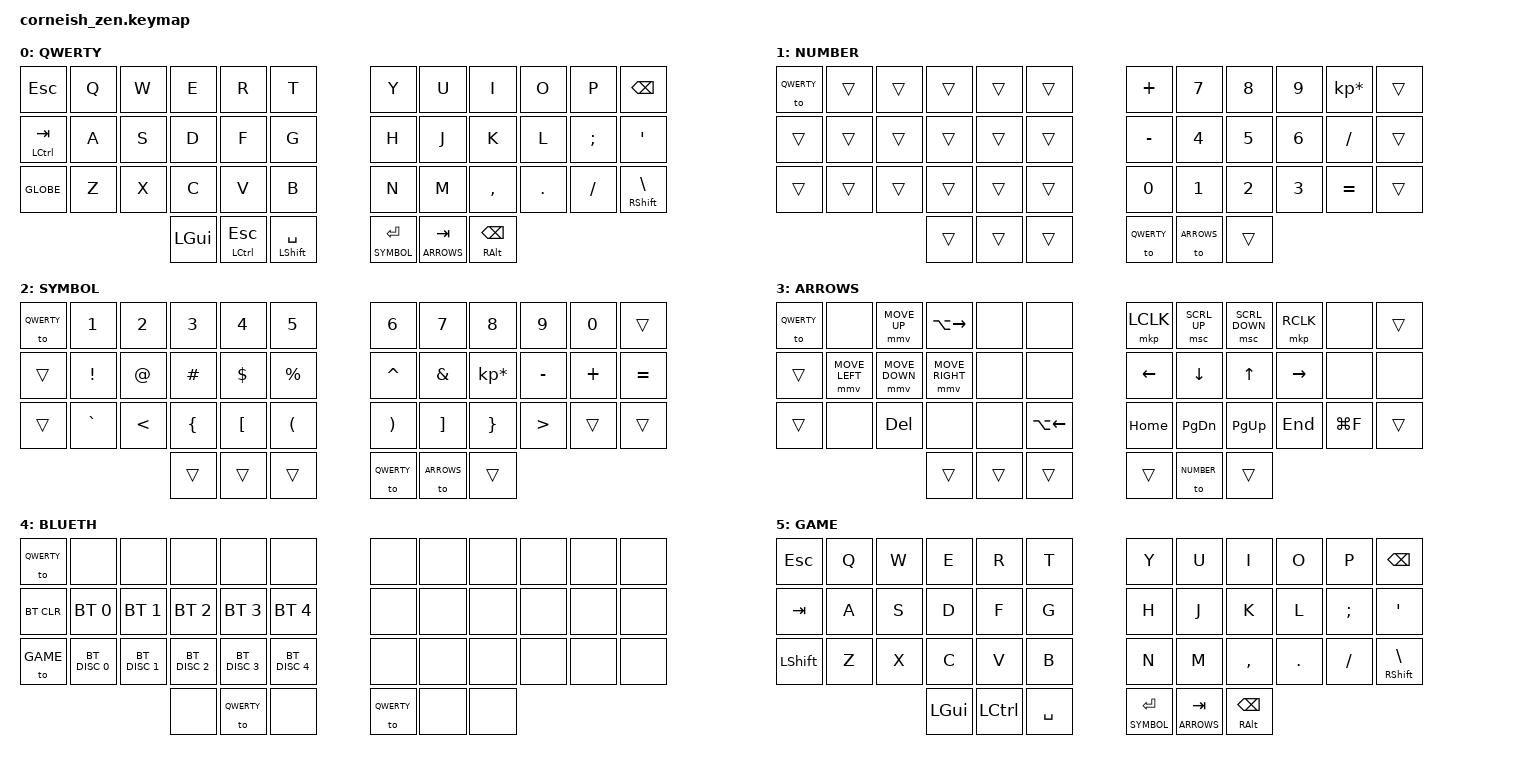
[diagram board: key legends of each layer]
#include <behaviors.dtsi>
#include <dt-bindings/zmk/keys.h>
#include <dt-bindings/zmk/bt.h>
#include <dt-bindings/zmk/pointing.h>

#define QWERTY 0
#define NUMBER 1
#define SYMBOL 2
#define ARROWS 3
#define BLUETH 4
#define GAME   5

#define AS(keycode) &as LS(keycode) keycode     // Autoshift Macro

/ {
  chosen {
    zmk,matrix_transform = &default_transform;
    //zmk,matrix_transform = &five_column_transform;
  };
};

/ {
    combos {
        #include "combos.dtsi"
    };
};

/ {
    macros {
        vim_w: vim_word {
            label = "vim_word";
            compatible = "zmk,behavior-macro";
            #binding-cells = <0>;
            bindings
                = <&macro_tap &kp LA(RIGHT)>
                , <&macro_tap &kp LA(RIGHT)>
                , <&macro_tap &kp LA(LEFT)>
                ;
        };

        end_append: end_append {
            label = "end_append";
            compatible = "zmk,behavior-macro";
            #binding-cells = <0>;
            bindings
                = <&macro_tap &to QWERTY>
                , <&macro_tap &kp LG(RIGHT)>
                ;
        };

        home_insert: home_insert {
            label = "home_insert";
            compatible = "zmk,behavior-macro";
            #binding-cells = <0>;
            bindings
                = <&macro_tap &to QWERTY>
                , <&macro_tap &kp LG(LEFT)>
                ;
        };
    };
};

/ {
    behaviors {
        mt: mod_tap {
            compatible = "zmk,behavior-hold-tap";
            #binding-cells = <2>;
            flavor = "tap-preferred";
            tapping-term-ms = <200>;
            bindings = <&kp>, <&kp>;
            display-name = "Mod-Tap";
        };

        lt: layer_tap {
            compatible = "zmk,behavior-hold-tap";
            #binding-cells = <2>;
            flavor = "hold-preferred";
            tapping-term-ms = <200>;
            bindings = <&mo>, <&kp>;
            display-name = "Layer-Tap";
        };
    };
};

/ {
        keymap {
                compatible = "zmk,keymap";

                default_layer {
                        label = "QWERTY";
/* ╭──────────┬─────┬─────┬─────┬────────────┬───────╮   ╭───────────┬─────────┬────────────┬─────┬─────┬─────────╮
   │ ESC      │  Q  │  W  │  E  │  R         │  T    │   │ Y         │  U      │  I         │  O  │  P  │  BSPC   │
   ├──────────┼─────┼─────┼─────┼────────────┼───────┤   ├───────────┼─────────┼────────────┼─────┼─────┼─────────┤
   │ TAB      │  A  │  S  │  D  │  F         │  G    │   │ H         │  J      │  K         │  L  │  ;  │  '      │
   ├──────────┼─────┼─────┼─────┼────────────┼───────┤   ├───────────┼─────────┼────────────┼─────┼─────┼─────────┤
   │ 🌐       │  Z  │  X  │  C  │  V         │  B    │   │ N         │  M      │  ,         │  .  │  /  │  ⇧      │
   ╰──────────┴─────┴─────┼─────┼────────────┼───────┤   ├───────────┼─────────┼────────────┼─────┴─────┴─────────╯
                          │  ⌘  │ CTRL / ESC │ ⇧ / ␣ │   │ SYM / ⏎   │ ARR / ↹ │  ⌥         │
                          ╰─────┴────────────┴───────╯   ╰───────────┴─────────┴────────────╯                    */
                        bindings = <
   &kp ESC       &kp Q &kp W &kp E    &kp R         &kp T            &kp Y          &kp U          &kp I         &kp O   &kp P    &kp BSPC
   &mt LCTRL TAB &kp A &kp S &kp D    &kp F         &kp G            &kp H          &kp J          &kp K         &kp L   &kp SEMI &kp SQT
   &kp GLOBE     &kp Z &kp X &kp C    &kp V         &kp B            &kp N          &kp M          &kp COMMA     &kp DOT &kp FSLH &mt RSHFT BSLH
                             &kp LGUI &mt LCTRL ESC &mt LSHIFT SPACE &lt SYMBOL RET &lt ARROWS TAB &mt RALT BSPC
                        >;
                };

                lower_layer {
                        label = "NUMBER";
/* ╭─────┬─────┬─────┬─────┬─────┬─────╮   ╭─────┬─────┬─────┬─────┬─────┬─────╮
   │     │     │     │     │     │     │   │  +  │  7  │  8  │  9  │  *  │     │
   ├─────┼─────┼─────┼─────┼─────┼─────┤   ├─────┼─────┼─────┼─────┼─────┼─────┤
   │     │     │     │     │     │     │   │  -  │  4  │  5  │  6  │  /  │     │
   ├─────┼─────┼─────┼─────┼─────┼─────┤   ├─────┼─────┼─────┼─────┼─────┼─────┤
   │     │     │     │     │     │     │   │  0  │  1  │  2  │  3  │  =  │     │
   ╰─────┴─────┴─────┼─────┼─────┼─────┤   ├─────┼─────┼─────┼─────┴─────┴─────╯
                     │     │     │     │   │ QWR │ ARR │     │
                     ╰─────┴─────┴─────╯   ╰─────┴─────┴─────╯                   */
                        bindings = <
   &to QWERTY &trans  &trans  &trans  &trans      &trans    &kp PLUS   &kp N7      &kp N8  &kp N9  &kp KP_MULTIPLY  &trans
   &trans     &trans  &trans  &trans  &trans      &trans    &kp MINUS  &kp N4      &kp N5  &kp N6  &kp FSLH         &trans
   &trans     &trans  &trans  &trans  &trans      &trans    &kp N0     &kp N1      &kp N2  &kp N3  &kp EQUAL        &trans
                              &trans  &trans      &trans    &to QWERTY &to ARROWS  &trans
                        >;
                };

                raise_layer {
                        label = "SYMBOL";
/* ╭─────┬─────┬─────┬─────┬─────┬─────╮   ╭─────┬─────┬─────┬─────┬─────┬─────╮
   │ QWR │  1  │  2  │  3  │  4  │  5  │   │  6  │  7  │  8  │  9  │  0  │     │
   ├─────┼─────┼─────┼─────┼─────┼─────┤   ├─────┼─────┼─────┼─────┼─────┼─────┤
   │     │  !  │  @  │ '#' │  $  │  %  │   │  ^  │  &  │  *  │  -  │  +  │  =  │
   ├─────┼─────┼─────┼─────┼─────┼─────┤   ├─────┼─────┼─────┼─────┼─────┼─────┤
   │     │  `  │  <  │  {  │  [  │  (  │   │  )  │  ]  │  }  │  >  │     │     │
   ╰─────┴─────┴─────┼─────┼─────┼─────┤   ├─────┼─────┼─────┼─────┴─────┴─────╯
                     │     │ QWR │     │   │ QWR │ ARR │     │
                     ╰─────┴─────┴─────╯   ╰─────┴─────┴─────╯                   */
                        bindings = <
   &to QWERTY &kp N1    &kp N2 &kp N3   &kp N4     &kp N5    &kp N6     &kp N7     &kp N8          &kp N9    &kp N0   &trans
   &trans     &kp EXCL  &kp AT &kp HASH &kp DLLR   &kp PRCNT &kp CARET  &kp AMPS   &kp KP_MULTIPLY &kp MINUS &kp PLUS &kp EQUAL
   &trans     &kp GRAVE &kp LT &kp LBRC &kp LBKT   &kp LPAR  &kp RPAR   &kp RBKT   &kp RBRC        &kp GT    &trans   &trans
                               &trans   &trans     &trans    &to QWERTY &to ARROWS &trans
                        >;
                };

                arrow_layer {
                        label = "ARROWS";
/* ╭─────┬─────┬─────┬─────┬─────┬─────╮   ╭─────┬─────┬─────┬─────┬─────┬─────╮
   │     │     │  ↑  │ [e] │     │     │   │ MB1 │ SC↓ │ SC↑ │ MB2 │     │     │
   ├─────┼─────┼─────┼─────┼─────┼─────┤   ├─────┼─────┼─────┼─────┼─────┼─────┤
   │     │  ←  │  ↓  │  →  │     │     │   │  ←  │  ↓  │  ↑  │  →  │     │     │
   ├─────┼─────┼─────┼─────┼─────┼─────┤   ├─────┼─────┼─────┼─────┼─────┼─────┤
   │     │     │ [x] │     │     │ [b] │   │  ↖︎  │ PGD │ PGU │  ↘  │ [/] │     │
   ╰─────┴─────┴─────┼─────┼─────┼─────┤   ├─────┼─────┼─────┼─────┴─────┴─────╯
                     │     │     │     │   │     │ NUM │     │
                     ╰─────┴─────┴─────╯   ╰─────┴─────┴─────╯                   */
                        bindings = <
   &to QWERTY &none          &mmv MOVE_UP   &kp LA(RIGHT)   &none  &none        &mkp LCLK      &msc SCRL_UP   &msc SCRL_DOWN &mkp RCLK &none     &trans
   &trans     &mmv MOVE_LEFT &mmv MOVE_DOWN &mmv MOVE_RIGHT &none  &none        &kp LEFT       &kp DOWN       &kp UP         &kp RIGHT &none     &none
   &trans     &none          &kp DEL        &none           &none  &kp LA(LEFT) &kp HOME       &kp PG_DN      &kp PG_UP      &kp END   &kp LG(F) &trans
                                            &trans          &trans &trans       &trans         &to NUMBER     &trans
                        >;
                };

                bt_layer {
                        label = "BLUETH";
/* ╭───────┬─────┬─────┬─────┬─────┬─────╮   ╭─────┬─────┬─────┬─────┬─────┬─────╮
   │       │     │     │     │     │     │   │     │     │     │     │     │     │
   ├───────┼─────┼─────┼─────┼─────┼─────┤   ├─────┼─────┼─────┼─────┼─────┼─────┤
   │ BTCLR │ +B1 │ +B2 │ +B3 │ +B4 │ +B5 │   │     │     │     │     │     │     │
   ├───────┼─────┼─────┼─────┼─────┼─────┤   ├─────┼─────┼─────┼─────┼─────┼─────┤
   │ GAME  │ -B1 │ -B1 │ -B1 │ -B1 │ -B1 │   │     │     │     │     │     │     │
   ╰───────┴─────┴─────┼─────┼─────┼─────┤   ├─────┼─────┼─────┼─────┴─────┴─────╯
                       │     │ QWR │     │   │ QWR │     │     │
                       ╰─────┴─────┴─────╯   ╰─────┴─────┴─────╯                   */
                        bindings = <
   &to QWERTY &none         &none         &none         &none         &none         &none      &none   &none   &none   &none   &none
   &bt BT_CLR &bt BT_SEL 0  &bt BT_SEL 1  &bt BT_SEL 2  &bt BT_SEL 3  &bt BT_SEL 4  &none      &none   &none   &none   &none   &none
   &to GAME   &bt BT_DISC 0 &bt BT_DISC 1 &bt BT_DISC 2 &bt BT_DISC 3 &bt BT_DISC 4 &none      &none   &none   &none   &none   &none
                                          &none         &to QWERTY    &none         &to QWERTY &none   &none
                        >;
                };

                game_layer {
                        label = "GAME";
/* ╭──────────┬─────┬─────┬─────┬────────────┬───────╮   ╭───────────┬─────────┬────────────┬─────┬─────┬─────────╮
   │ ESC      │  Q  │  W  │  E  │  R         │  T    │   │ Y         │  U      │  I         │  O  │  P  │  BSPC   │
   ├──────────┼─────┼─────┼─────┼────────────┼───────┤   ├───────────┼─────────┼────────────┼─────┼─────┼─────────┤
   │ TAB      │  A  │  S  │  D  │  F         │  G    │   │ H         │  J      │  K         │  L  │  ;  │  '      │
   ├──────────┼─────┼─────┼─────┼────────────┼───────┤   ├───────────┼─────────┼────────────┼─────┼─────┼─────────┤
   │ ⇧        │  Z  │  X  │  C  │  V         │  B    │   │ N         │  M      │  ,         │  .  │  /  │  ⇧      │
   ╰──────────┴─────┴─────┼─────┼────────────┼───────┤   ├───────────┼─────────┼────────────┼─────┴─────┴─────────╯
                          │  ⌘  │    CTRL    │   ␣   │   │ SYM / ⏎   │ ARR / ↹ │  ⌥         │
                          ╰─────┴────────────┴───────╯   ╰───────────┴─────────┴────────────╯                    */
                        bindings = <
   &kp ESC    &kp Q &kp W &kp E    &kp R      &kp T      &kp Y          &kp U          &kp I         &kp O   &kp P    &kp BSPC
   &kp TAB    &kp A &kp S &kp D    &kp F      &kp G      &kp H          &kp J          &kp K         &kp L   &kp SEMI &kp SQT
   &kp LSHFT  &kp Z &kp X &kp C    &kp V      &kp B      &kp N          &kp M          &kp COMMA     &kp DOT &kp FSLH &mt RSHFT BSLH
                          &kp LGUI &kp LCTRL  &kp SPACE  &lt SYMBOL RET &lt ARROWS TAB &mt RALT BSPC
                        >;
                };
        };
};
